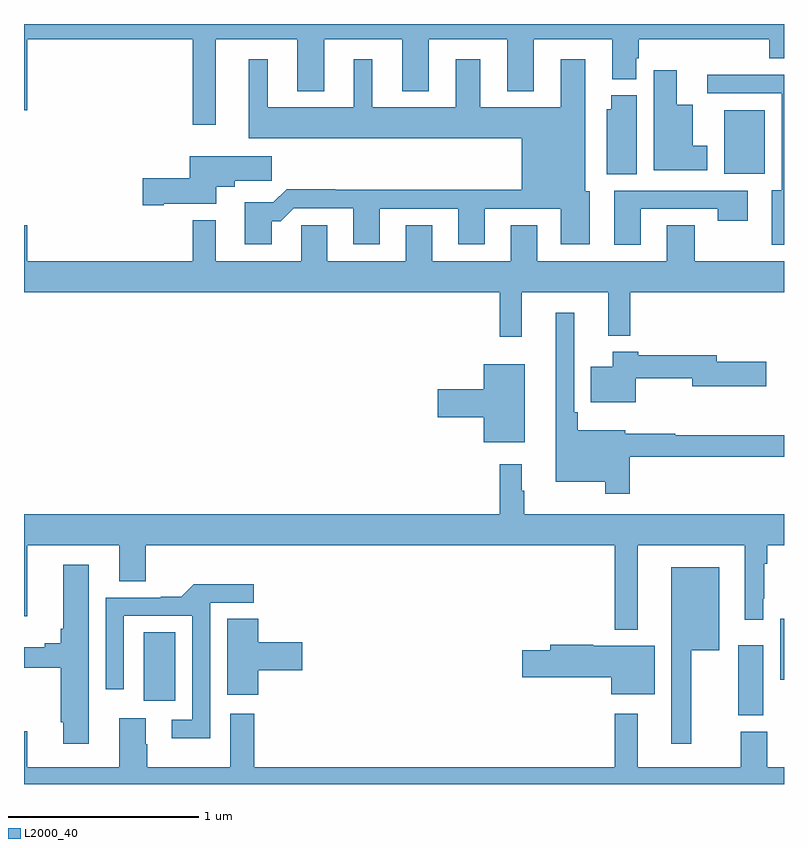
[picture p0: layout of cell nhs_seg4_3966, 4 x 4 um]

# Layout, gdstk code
import gdstk
lib = gdstk.Library(unit=1e-6, precision=1e-09)
def R(c, l, rs):  # rectangles x0, y0, x1, y1
    for r in rs: c.add(gdstk.rectangle(r[:2], r[2:], *l))
def P(c, l, *ps):  # polygons
    for p in ps: c.add(gdstk.Polygon(p, *l))
L2000_40 = (2000, 40)

nhs_seg4_3966 = lib.new_cell('nhs_seg4_3966')
R(nhs_seg4_3966, L2000_40, [(324.758,793.261,324.892,793.63), (321.629,793.338,321.796,793.7), (324.98,793.448,325,793.771), (324.686,796.112,324.898,796.447)])
P(nhs_seg4_3966, L2000_40, [(322.009,796.82),(322.439,796.82),(322.439,796.547),(322.579,796.547),(322.579,796.82),(322.991,796.82),(322.991,796.547),(323.131,796.547),(323.131,796.82),(323.543,796.82),(323.543,796.547),(323.683,796.547),(323.683,796.82),(324.095,796.82),(324.095,796.609),(324.223,796.609),(324.223,796.719),(324.236,796.719),(324.236,796.82),(324.923,796.82),(324.923,796.721),(325,796.721),(325,796.9),(321,796.9),(321,796.446),(321.016,796.446),(321.016,796.82),(321.888,796.82),(321.888,796.371),(322.009,796.371)],
  [(322.303,795.863),(322.352,795.863),(322.419,795.93),(322.733,795.93),(322.733,795.741),(322.873,795.741),(322.873,795.927),(323.285,795.927),(323.285,795.741),(323.425,795.741),(323.425,795.927),(323.825,795.927),(323.825,795.741),(323.977,795.741),(323.977,796.02),(323.953,796.02),(323.953,796.714),(323.825,796.714),(323.825,796.462),(323.401,796.462),(323.401,796.714),(323.273,796.714),(323.273,796.462),(322.834,796.462),(322.834,796.714),(322.736,796.714),(322.736,796.462),(322.282,796.462),(322.282,796.714),(322.184,796.714),(322.184,796.298),(323.621,796.298),(323.621,796.028),(322.637,796.028),(322.637,796.031),(322.382,796.031),(322.312,795.961),(322.163,795.961),(322.163,795.741),(322.303,795.741)],
  [(324.595,796.258),(324.52,796.258),(324.52,796.474),(324.436,796.474),(324.436,796.657),(324.314,796.657),(324.314,796.13),(324.595,796.13)],
  [(325,796.634),(324.597,796.634),(324.597,796.536),(324.989,796.536),(324.989,796.024),(324.935,796.024),(324.935,795.738),(325,795.738)],
  [(324.226,796.524),(324.092,796.524),(324.092,796.452),(324.068,796.452),(324.068,796.108),(324.226,796.108)],
  [(321.736,795.953),(322.012,795.953),(322.012,796.043),(322.108,796.043),(322.108,796.075),(322.303,796.075),(322.303,796.204),(321.872,796.204),(321.872,796.088),(321.624,796.088),(321.624,795.946),(321.736,795.946)],
  [(324.247,795.927),(324.652,795.927),(324.652,795.864),(324.808,795.864),(324.808,796.023),(324.107,796.023),(324.107,795.738),(324.247,795.738)],
  [(323.621,795.488),(324.074,795.488),(324.074,795.26),(324.191,795.26),(324.191,795.488),(325,795.488),(325,795.652),(324.531,795.652),(324.531,795.842),(324.383,795.842),(324.383,795.652),(323.701,795.652),(323.701,795.842),(323.561,795.842),(323.561,795.652),(323.149,795.652),(323.149,795.842),(323.009,795.842),(323.009,795.652),(322.597,795.652),(322.597,795.842),(322.458,795.842),(322.458,795.652),(322.009,795.652),(322.009,795.868),(321.888,795.868),(321.888,795.652),(321.016,795.652),(321.016,795.841),(321,795.841),(321,795.488),(323.503,795.488),(323.503,795.255),(323.621,795.255)],
  [(324.188,794.622),(325,794.622),(325,794.735),(324.428,794.735),(324.428,794.743),(324.165,794.743),(324.165,794.761),(323.915,794.761),(323.915,794.857),(323.895,794.857),(323.895,795.379),(323.798,795.379),(323.798,794.492),(324.06,794.492),(324.06,794.427),(324.188,794.427)],
  [(324.22,795.036),(324.518,795.036),(324.518,794.993),(324.907,794.993),(324.907,795.123),(324.646,795.123),(324.646,795.157),(324.233,795.157),(324.233,795.175),(324.098,795.175),(324.098,795.097),(323.984,795.097),(323.984,794.909),(324.22,794.909)],
  [(323.635,795.109),(323.42,795.109),(323.42,794.978),(323.178,794.978),(323.178,794.831),(323.42,794.831),(323.42,794.699),(323.635,794.699)],
  [(324.229,794.156),(324.794,794.156),(324.794,793.764),(324.891,793.764),(324.891,793.876),(324.896,793.876),(324.896,794.06),(324.911,794.06),(324.911,794.156),(325,794.156),(325,794.32),(323.632,794.32),(323.632,794.444),(323.62,794.444),(323.62,794.584),(323.503,794.584),(323.503,794.32),(321,794.32),(321,793.782),(321.016,793.782),(321.016,794.156),(321.5,794.156),(321.5,793.966),(321.64,793.966),(321.64,794.156),(324.108,794.156),(324.108,793.819),(324.109,793.819),(324.109,793.712),(324.229,793.712)],
  [(321.34,794.053),(321.206,794.053),(321.206,793.717),(321.194,793.717),(321.194,793.64),(321.11,793.64),(321.11,793.621),(321,793.621),(321,793.512),(321.194,793.512),(321.194,793.225),(321.206,793.225),(321.206,793.113),(321.34,793.113)],
  [(324.511,793.604),(324.658,793.604),(324.658,794.041),(324.407,794.041),(324.407,793.113),(324.511,793.113)],
  [(321.981,793.854),(322.21,793.854),(322.21,793.952),(321.893,793.952),(321.827,793.886),(321.719,793.886),(321.719,793.881),(321.429,793.881),(321.429,793.398),(321.525,793.398),(321.525,793.785),(321.885,793.785),(321.885,793.239),(321.777,793.239),(321.777,793.142),(321.981,793.142)],
  [(322.232,793.499),(322.465,793.499),(322.465,793.646),(322.232,793.646),(322.232,793.769),(322.07,793.769),(322.07,793.371),(322.232,793.371)],
  [(324.319,793.627),(323.996,793.627),(323.996,793.634),(323.771,793.634),(323.771,793.604),(323.622,793.604),(323.622,793.462),(324.092,793.462),(324.092,793.373),(324.319,793.373)],
  [(325,792.988),(324.913,792.988),(324.913,793.176),(324.773,793.176),(324.773,792.988),(324.229,792.988),(324.229,793.27),(324.108,793.27),(324.108,792.988),(322.211,792.988),(322.211,793.27),(322.085,793.27),(322.085,792.988),(321.648,792.988),(321.648,793.109),(321.64,793.109),(321.64,793.246),(321.5,793.246),(321.5,792.988),(321.016,792.988),(321.016,793.177),(321,793.177),(321,792.9),(325,792.9)])

lib.write_gds('nhs_seg4_3966.gds')
